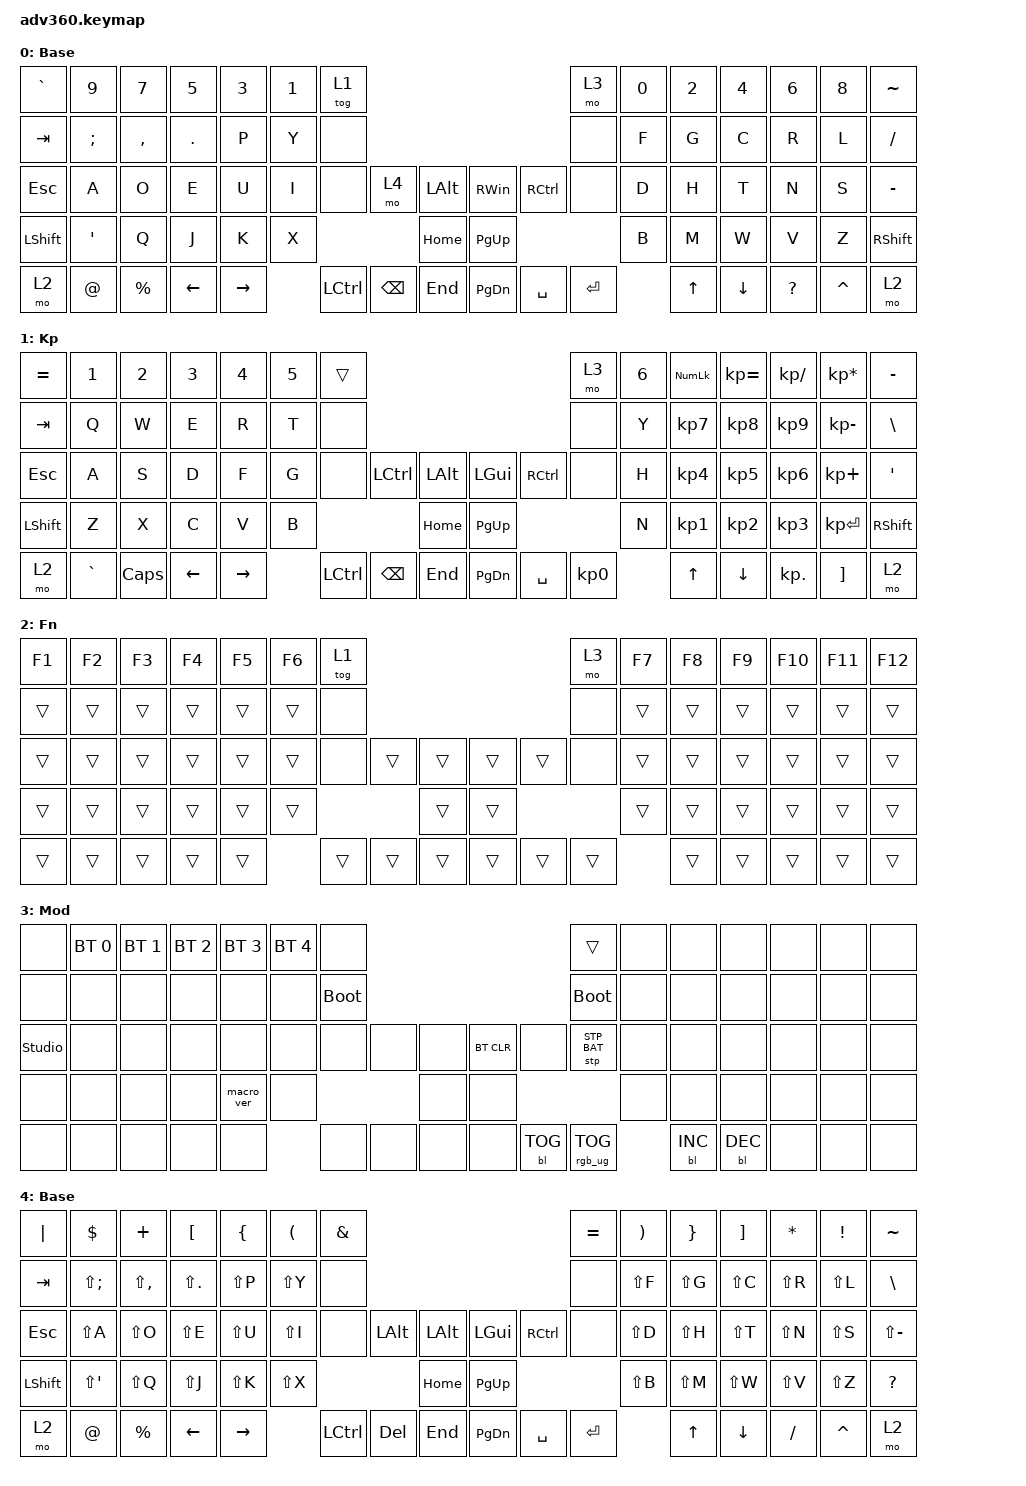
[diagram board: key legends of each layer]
#include <dt-bindings/zmk/stp.h>
#include <behaviors.dtsi>
#include <dt-bindings/zmk/backlight.h>
#include <dt-bindings/zmk/bt.h>
#include <dt-bindings/zmk/keys.h>
#include <dt-bindings/zmk/rgb.h>

/ {
    behaviors {
        #include "macros.dtsi"
      #include "version.dtsi"

        hm: homerow_mods {
            compatible = "zmk,behavior-hold-tap";
            label = "HOMEROW_MODS";
            #binding-cells = <2>;
            tapping-term-ms = <200>;
            quick_tap_ms = <175>;
            flavor = "tap-preferred";
            bindings = <&kp>, <&kp>;
        };
    };

    keymap {
        compatible = "zmk,keymap";

        default_layer {
            display-name = "Base";
            bindings = <
&kp GRAVE  &kp NUMBER_9   &kp NUMBER_7  &kp N5      &kp NUMBER_3  &kp NUMBER_1  &tog 1                                                                &mo 3      &kp N0  &kp NUMBER_2  &kp NUMBER_4  &kp NUMBER_6  &kp NUMBER_8  &kp TILDE
&kp TAB    &kp SEMICOLON  &kp COMMA     &kp PERIOD  &kp P         &kp Y         &none                                                                 &none      &kp F   &kp G         &kp C         &kp R         &kp L         &kp SLASH
&kp ESC    &kp A          &kp O         &kp E       &kp U         &kp I         &none      &mo 4          &kp LEFT_ALT      &kp RIGHT_WIN  &kp RCTRL  &none      &kp D   &kp H         &kp T         &kp N         &kp S         &kp MINUS
&kp LSHFT  &kp SQT        &kp Q         &kp J       &kp K         &kp X                                   &kp HOME          &kp PG_UP                            &kp B   &kp M         &kp W         &kp V         &kp Z         &kp RSHFT
&mo 2      &kp AT         &kp PERCENT   &kp LEFT    &kp RIGHT                   &kp LCTRL  &kp BACKSPACE  &kp END           &kp PG_DN      &kp SPACE  &kp ENTER          &kp UP        &kp DOWN      &kp QUESTION  &kp CARET     &mo 2
            >;
        };

        keypad {
            display-name = "Kp";
            bindings = <
&kp EQUAL  &kp N1     &kp N2    &kp N3    &kp N4     &kp N5  &trans                                                        &mo 3      &kp N6  &kp KP_NUM  &kp KP_EQUAL  &kp KP_DIVIDE  &kp KP_MULTIPLY  &kp MINUS
&kp TAB    &kp Q      &kp W     &kp E     &kp R      &kp T   &none                                                         &none      &kp Y   &kp KP_N7   &kp KP_N8     &kp KP_N9      &kp KP_MINUS     &kp BSLH
&kp ESC    &kp A      &kp S     &kp D     &kp F      &kp G   &none      &kp LCTRL      &kp LALT      &kp LGUI   &kp RCTRL  &none      &kp H   &kp KP_N4   &kp KP_N5     &kp KP_N6      &kp KP_PLUS      &kp SQT
&kp LSHFT  &kp Z      &kp X     &kp C     &kp V      &kp B                             &kp HOME      &kp PG_UP                        &kp N   &kp KP_N1   &kp KP_N2     &kp KP_N3      &kp KP_ENTER     &kp RSHFT
&mo 2      &kp GRAVE  &kp CAPS  &kp LEFT  &kp RIGHT          &kp LCTRL  &kp BACKSPACE  &kp END       &kp PG_DN  &kp SPACE  &kp KP_N0          &kp UP      &kp DOWN      &kp KP_DOT     &kp RBKT         &mo 2
            >;
        };

        fn {
            display-name = "Fn";
            bindings = <
&kp F1  &kp F2  &kp F3  &kp F4  &kp F5  &kp F6  &tog 1                                      &mo 3   &kp F7  &kp F8  &kp F9  &kp F10  &kp F11  &kp F12
&trans  &trans  &trans  &trans  &trans  &trans  &none                                       &none   &trans  &trans  &trans  &trans   &trans   &trans
&trans  &trans  &trans  &trans  &trans  &trans  &none   &trans  &trans      &trans  &trans  &none   &trans  &trans  &trans  &trans   &trans   &trans
&trans  &trans  &trans  &trans  &trans  &trans                  &trans      &trans                  &trans  &trans  &trans  &trans   &trans   &trans
&trans  &trans  &trans  &trans  &trans          &trans  &trans  &trans      &trans  &trans  &trans          &trans  &trans  &trans   &trans   &trans
            >;
        };

        mod {
            display-name = "Mod";
            bindings = <
&none           &bt BT_SEL 0  &bt BT_SEL 1  &bt BT_SEL 2  &bt BT_SEL 3  &bt BT_SEL 4  &none                                                  &trans           &none  &none       &none       &none  &none  &none
&none           &none         &none         &none         &none         &none         &bootloader                                            &bootloader      &none  &none       &none       &none  &none  &none
&studio_unlock  &none         &none         &none         &none         &none         &none        &none  &none      &bt BT_CLR  &none       &stp STP_BAT     &none  &none       &none       &none  &none  &none
&none           &none         &none         &none         &macro_ver    &none                             &none      &none                                    &none  &none       &none       &none  &none  &none
&none           &none         &none         &none         &none                       &none        &none  &none      &none       &bl BL_TOG  &rgb_ug RGB_TOG         &bl BL_INC  &bl BL_DEC  &none  &none  &none
            >;
        };

        programmers_dvorak {
            display-name = "Base";
            bindings = <
&kp PIPE   &kp DOLLAR         &kp PLUS       &kp LEFT_BRACKET  &kp LEFT_BRACE  &kp LEFT_PARENTHESIS  &kp AMPERSAND                                                    &kp EQUAL  &kp RIGHT_PARENTHESIS  &kp RIGHT_BRACE  &kp RIGHT_BRACKET  &kp ASTRK  &kp EXCLAMATION  &kp TILDE
&kp TAB    &kp LS(SEMICOLON)  &kp LS(COMMA)  &kp LS(PERIOD)    &kp LS(P)       &kp LS(Y)             &none                                                            &none      &kp LS(F)              &kp LS(G)        &kp LS(C)          &kp LS(R)  &kp LS(L)        &kp BACKSLASH
&kp ESC    &kp LS(A)          &kp LS(O)      &kp LS(E)         &kp LS(U)       &kp LS(I)             &none          &kp LEFT_ALT  &kp LALT      &kp LGUI   &kp RCTRL  &none      &kp LS(D)              &kp LS(H)        &kp LS(T)          &kp LS(N)  &kp LS(S)        &kp LS(MINUS)
&kp LSHFT  &kp LS(SQT)        &kp LS(Q)      &kp LS(J)         &kp LS(K)       &kp LS(X)                                          &kp HOME      &kp PG_UP                        &kp LS(B)              &kp LS(M)        &kp LS(W)          &kp LS(V)  &kp LS(Z)        &kp QUESTION
&mo 2      &kp AT             &kp PERCENT    &kp LEFT          &kp RIGHT                             &kp LCTRL      &kp DEL       &kp END       &kp PG_DN  &kp SPACE  &kp ENTER                         &kp UP           &kp DOWN           &kp SLASH  &kp CARET        &mo 2
            >;
        };
    };
};
